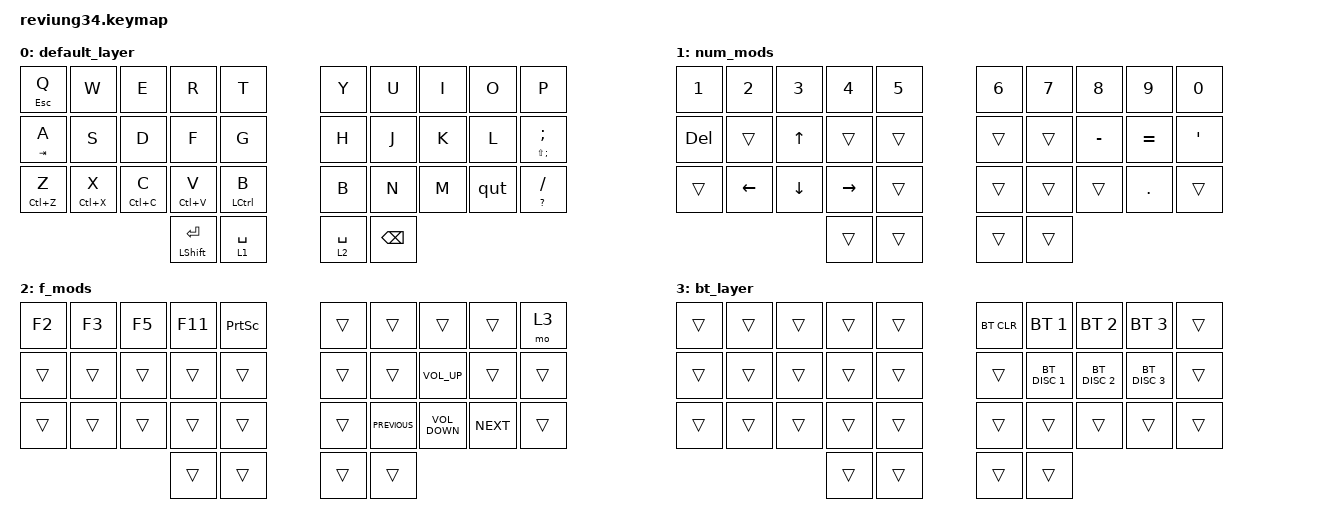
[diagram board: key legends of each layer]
/*
 * Copyright (c) 2020 The ZMK Contributors
 *
 * SPDX-License-Identifier: MIT
 */

#include <behaviors.dtsi>
#include <dt-bindings/zmk/bt.h>
#include <dt-bindings/zmk/keys.h>

#define DEFAULT  0
#define NUM_MODS 1
#define BT_CTRL  2
#define CE 2
#define CR 3
#define CT 4
#define CU 6
#define CI 7
#define CD 12
#define CF 13
#define CG 14
#define CH 15
#define CJ 16
#define CK 17
#define CC 22
#define CV 23
#define CM 26
#define CCOMMA 27
#define QUICK_TAP_MS 150

/ {
    macros {
        ZMK_MACRO(enie_lower,

        wait-ms = <20>;
        tap-ms = <20>;
        bindings =
            <&macro_press   &kp LALT>,
            <&macro_tap     &kp KP_N0 &kp KP_N2 &kp KP_N4 &kp KP_N1>,
            <&macro_release &kp LALT>;

        )
        ZMK_MACRO(

        enie_upper,
        wait-ms = <20>;
        tap-ms = <20>;
        bindings =
            <&macro_press   &kp LALT>,
            <&macro_tap     &kp KP_N0 &kp KP_N2 &kp KP_N0 &kp KP_N9>,
            <&macro_release &kp LALT>;

        )
        ZMK_MACRO(

        at_at,
        wait-ms = <30>;
        tap-ms = <30>;
        bindings = <&kp AT &kp AT>;

        )
    };

    combos { compatible = "zmk,combos"; };

    behaviors {
        hm: homerow_mods {
            compatible = "zmk,behavior-hold-tap";
            label = "HOMEROW_MODS";
            #binding-cells = <2>;
            tapping-term-ms = <250>;
            quick-tap-ms = <QUICK_TAP_MS>;
            flavor = "tap-preferred";
            bindings = <&kp>, <&kp>;
        };

        hl: homerow_layers {
            compatible = "zmk,behavior-hold-tap";
            label = "HOMEROW_LAYERS";
            #binding-cells = <2>;
            tapping-term-ms = <150>;
            quick-tap-ms = <QUICK_TAP_MS>;
            flavor = "tap-preferred";
            bindings = <&mo>, <&kp>;
        };

        tabspace: tab_space {
            compatible = "zmk,behavior-mod-morph";
            label = "TAB_SPACE";
            #binding-cells = <0>;
            bindings = <&mt LSHIFT SPACE>, <&kp TAB>;

            mods = <(MOD_LALT | MOD_RALT)>;
        };

        enie: enie {
            compatible = "zmk,behavior-mod-morph";
            label = "ENIE";
            #binding-cells = <0>;
            bindings = <&enie_lower>, <&enie_upper>;

            mods = <(MOD_LSFT | MOD_RSFT)>;
        };

        qut: qut {
            compatible = "zmk,behavior-tap-dance";
            label = "QUT";
            #binding-cells = <0>;
            bindings = <&kp COMMA>, <&kp DOT>;
        };
    };

    keymap {
        compatible = "zmk,keymap";

        default_layer {
            bindings = <
&hm ESCAPE Q  &kp W        &kp E        &kp R                 &kp T          &kp Y        &kp U          &kp I  &kp O  &kp P
&hm TAB A     &kp S        &kp D        &kp F                 &kp G          &kp H        &kp J          &kp K  &kp L  &mt LS(SEMICOLON) SEMICOLON
&hm LC(Z) Z   &hm LC(X) X  &hm LC(C) C  &hm LC(V) V           &mt LCTRL B    &kp B        &kp N          &kp M  &qut   &mt QMARK FSLH
                                        &hm LEFT_SHIFT ENTER  &lt 1 SPACE    &lt 2 SPACE  &kp BACKSPACE
            >;
        };

        num_mods {
            bindings = <
&kp NUMBER_1  &kp NUMBER_2    &kp NUMBER_3    &kp NUMBER_4     &kp NUMBER_5    &kp NUMBER_6  &kp N7  &kp NUMBER_8  &kp N9     &kp NUMBER_0
&kp DELETE    &trans          &kp UP_ARROW    &trans           &trans          &trans        &trans  &kp MINUS     &kp EQUAL  &kp SQT
&trans        &kp LEFT_ARROW  &kp DOWN_ARROW  &kp RIGHT_ARROW  &trans          &trans        &trans  &trans        &kp DOT    &trans
                                              &trans           &trans          &trans        &trans
            >;
        };

        f_mods {
            bindings = <
&kp F2  &kp F3  &kp F5  &kp F11  &kp PRINTSCREEN    &trans  &trans          &trans             &trans      &mo 3
&trans  &trans  &trans  &trans   &trans             &trans  &trans          &kp C_VOLUME_UP    &trans      &trans
&trans  &trans  &trans  &trans   &trans             &trans  &kp K_PREVIOUS  &kp C_VOLUME_DOWN  &kp K_NEXT  &trans
                        &trans   &trans             &trans  &trans
            >;
        };

        bt_layer {
            bindings = <
&trans  &trans  &trans  &trans  &trans    &bt BT_CLR  &bt BT_SEL 1   &bt BT_SEL 2   &bt BT_SEL 3   &trans
&trans  &trans  &trans  &trans  &trans    &trans      &bt BT_DISC 1  &bt BT_DISC 2  &bt BT_DISC 3  &trans
&trans  &trans  &trans  &trans  &trans    &trans      &trans         &trans         &trans         &trans
                        &trans  &trans    &trans      &trans
            >;
        };
    };
};
